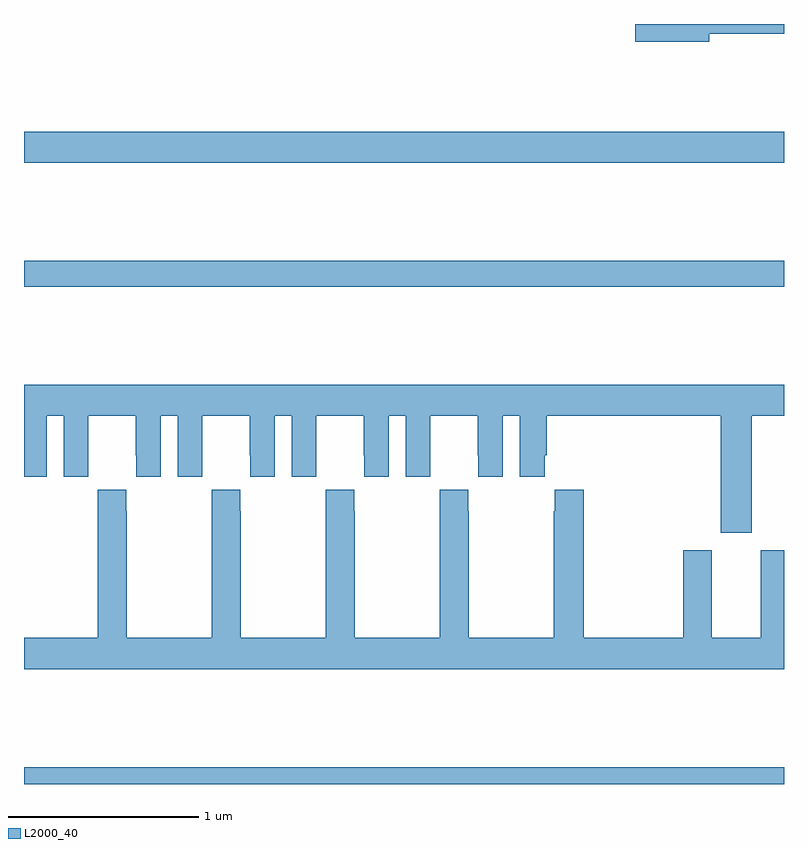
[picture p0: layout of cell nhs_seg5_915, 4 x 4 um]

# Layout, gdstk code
import gdstk
lib = gdstk.Library(unit=1e-6, precision=1e-09)
def R(c, l, rs):  # rectangles x0, y0, x1, y1
    for r in rs: c.add(gdstk.rectangle(r[:2], r[2:], *l))
def P(c, l, *ps):  # polygons
    for p in ps: c.add(gdstk.Polygon(p, *l))
L2000_40 = (2000, 40)

nhs_seg5_915 = lib.new_cell('nhs_seg5_915')
R(nhs_seg5_915, L2000_40, [(169,878.799,173,878.888), (169,881.416,173,881.552), (169,882.068,173,882.232)])
P(nhs_seg5_915, L2000_40, [(172.606,882.748),(173,882.748),(173,882.799),(172.218,882.799),(172.218,882.706),(172.606,882.706)],
  [(172.831,880.736),(173,880.736),(173,880.9),(169,880.9),(169,880.416),(169.12,880.416),(169.12,880.736),(169.208,880.736),(169.208,880.416),(169.338,880.416),(169.338,880.528),(169.339,880.528),(169.339,880.736),(169.589,880.736),(169.589,880.528),(169.59,880.528),(169.59,880.416),(169.72,880.416),(169.72,880.736),(169.808,880.736),(169.808,880.416),(169.938,880.416),(169.938,880.528),(169.939,880.528),(169.939,880.736),(170.189,880.736),(170.189,880.528),(170.19,880.528),(170.19,880.416),(170.32,880.416),(170.32,880.736),(170.408,880.736),(170.408,880.416),(170.538,880.416),(170.538,880.528),(170.539,880.528),(170.539,880.736),(170.789,880.736),(170.789,880.528),(170.79,880.528),(170.79,880.416),(170.92,880.416),(170.92,880.736),(171.008,880.736),(171.008,880.416),(171.138,880.416),(171.138,880.528),(171.139,880.528),(171.139,880.736),(171.389,880.736),(171.389,880.528),(171.39,880.528),(171.39,880.416),(171.52,880.416),(171.52,880.736),(171.608,880.736),(171.608,880.416),(171.742,880.416),(171.742,880.528),(171.752,880.528),(171.752,880.736),(172.667,880.736),(172.667,880.122),(172.831,880.122)],
  [(173,880.03),(172.877,880.03),(172.877,879.568),(172.621,879.568),(172.621,880.03),(172.469,880.03),(172.469,879.568),(171.947,879.568),(171.947,880.348),(171.793,880.348),(171.793,880.235),(171.787,880.235),(171.787,879.568),(171.342,879.568),(171.342,880.235),(171.339,880.235),(171.339,880.348),(171.189,880.348),(171.189,880.235),(171.187,880.235),(171.187,879.568),(170.742,879.568),(170.742,880.235),(170.739,880.235),(170.739,880.348),(170.589,880.348),(170.589,880.235),(170.587,880.235),(170.587,879.568),(170.142,879.568),(170.142,880.235),(170.139,880.235),(170.139,880.348),(169.989,880.348),(169.989,880.235),(169.987,880.235),(169.987,879.568),(169.542,879.568),(169.542,880.235),(169.539,880.235),(169.539,880.348),(169.389,880.348),(169.389,880.235),(169.387,880.235),(169.387,879.568),(169,879.568),(169,879.404),(173,879.404)])

lib.write_gds('nhs_seg5_915.gds')
